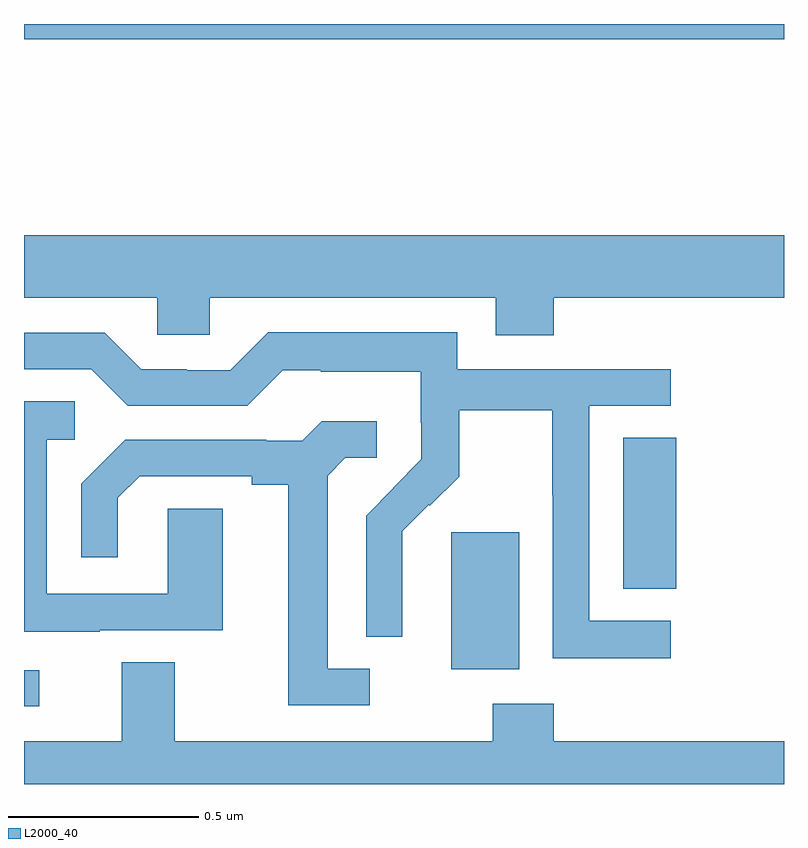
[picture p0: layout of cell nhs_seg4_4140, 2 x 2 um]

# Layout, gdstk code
import gdstk
lib = gdstk.Library(unit=1e-6, precision=1e-09)
def R(c, l, rs):  # rectangles x0, y0, x1, y1
    for r in rs: c.add(gdstk.rectangle(r[:2], r[2:], *l))
def P(c, l, *ps):  # polygons
    for p in ps: c.add(gdstk.Polygon(p, *l))
L2000_40 = (2000, 40)

nhs_seg4_4140 = lib.new_cell('nhs_seg4_4140')
R(nhs_seg4_4140, L2000_40, [(162,769.104,162.04,769.2), (163.124,769.202,163.303,769.563), (163.577,769.414,163.716,769.811), (162,770.86,164,770.9)])
P(nhs_seg4_4140, L2000_40, [(163.394,770.18),(164,770.18),(164,770.344),(162,770.344),(162,770.18),(162.351,770.18),(162.351,770.082),(162.489,770.082),(162.489,770.18),(163.241,770.18),(163.241,770.081),(163.394,770.081)],
  [(163.702,769.329),(163.488,769.329),(163.488,769.896),(163.702,769.896),(163.702,769.992),(163.14,769.992),(163.14,770.089),(162.643,770.089),(162.543,769.989),(162.428,769.989),(162.428,769.992),(162.309,769.992),(162.213,770.088),(162,770.088),(162,769.992),(162.177,769.992),(162.273,769.896),(162.588,769.896),(162.681,769.989),(162.781,769.989),(162.781,769.985),(163.044,769.985),(163.044,769.851),(163.046,769.851),(163.046,769.754),(162.972,769.68),(162.973,769.679),(162.9,769.606),(162.9,769.288),(162.996,769.288),(162.996,769.442),(162.995,769.442),(162.995,769.565),(163.065,769.635),(163.068,769.632),(163.145,769.709),(163.145,769.884),(163.39,769.884),(163.39,769.66),(163.392,769.66),(163.392,769.231),(163.702,769.231)],
  [(162.199,769.305),(162.523,769.305),(162.523,769.625),(162.378,769.625),(162.378,769.401),(162.06,769.401),(162.06,769.806),(162.133,769.806),(162.133,769.907),(162,769.907),(162,769.301),(162.199,769.301)],
  [(162.91,769.203),(162.799,769.203),(162.799,769.711),(162.846,769.758),(162.928,769.758),(162.928,769.855),(162.784,769.855),(162.732,769.803),(162.638,769.803),(162.638,769.806),(162.266,769.806),(162.15,769.69),(162.15,769.497),(162.247,769.497),(162.247,769.653),(162.304,769.71),(162.599,769.71),(162.599,769.688),(162.695,769.688),(162.695,769.107),(162.91,769.107)],
  [(164,769.012),(163.394,769.012),(163.394,769.111),(163.234,769.111),(163.234,769.012),(162.397,769.012),(162.397,769.22),(162.257,769.22),(162.257,769.012),(162,769.012),(162,768.9),(164,768.9)])

lib.write_gds('nhs_seg4_4140.gds')
